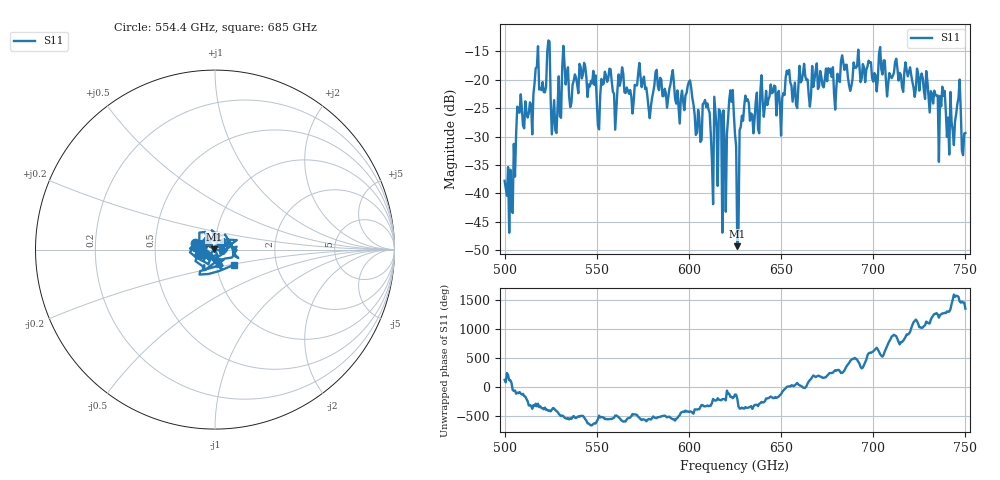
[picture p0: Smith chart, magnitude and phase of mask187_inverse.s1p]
!Created with skrf (http://scikit-rf.org).
# GHz S MA R 50.0
!freq magS11 angS11
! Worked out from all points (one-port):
!   401 points, 500 GHz to 750 GHz, reference 50 ohm
!   lowest |S11| = -49.3 dB at 626.2 GHz (marker M1), VSWR 1.01, Z = 49.7 + j0.143 ohm
!   |S11| at or under -10 dB: start of sweep to end of sweep
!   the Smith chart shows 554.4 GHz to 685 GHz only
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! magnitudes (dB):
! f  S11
! 500 GHz  -37.8
! 503.1 GHz  -35.8
! 507.5 GHz  -25.7
! 513.8 GHz  -24.0
! 516.9 GHz  -18.0
! 523.8 GHz  -13.1
! 526.9 GHz  -23.6
! 531.2 GHz  -17.9
! 542.5 GHz  -19.1
! 551.2 GHz  -28.7
! 562.5 GHz  -21.1
! 593.8 GHz  -21.9
! 600.6 GHz  -20.1
! 605.6 GHz  -26.7
! 609.4 GHz  -24.8
! 611.9 GHz  -29.6
! 615 GHz  -28.4
! 619.4 GHz  -31.5
! 623.1 GHz  -23.9
! 625 GHz  -29.6
! 626.2 GHz  -49.3
! 631.2 GHz  -23.7
! 656.2 GHz  -23.9
! 687.5 GHz  -22.0
! 718.8 GHz  -19.4
! 742.5 GHz  -27.4
! 746.2 GHz  -23.2
! 750 GHz  -29.4
